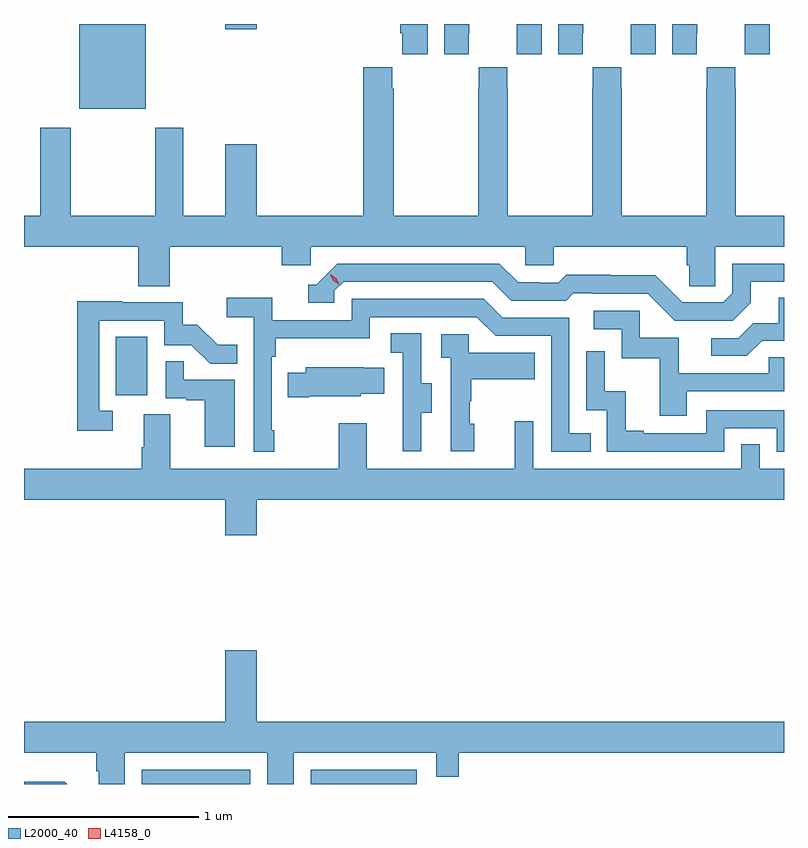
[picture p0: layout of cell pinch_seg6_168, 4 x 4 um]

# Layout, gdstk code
import gdstk
lib = gdstk.Library(unit=1e-6, precision=1e-09)
def R(c, l, rs):  # rectangles x0, y0, x1, y1
    for r in rs: c.add(gdstk.rectangle(r[:2], r[2:], *l))
def P(c, l, *ps):  # polygons
    for p in ps: c.add(gdstk.Polygon(p, *l))
L2000_40 = (2000, 40)
L4158_0 = (4158, 0)

pinch_seg6_168 = lib.new_cell('pinch_seg6_168')
R(pinch_seg6_168, L2000_40, [(1027.704,940.512,1028.274,940.587), (1028.592,940.512,1029.15,940.587), (1027.568,942.558,1027.732,942.865), (1027.376,944.066,1027.726,944.512), (1028.144,944.484,1028.308,944.512)])
P(pinch_seg6_168, L2000_40, [(1029.208,944.512),(1029.065,944.512),(1029.065,944.464),(1029.074,944.464),(1029.074,944.352),(1029.208,944.352)],
  [(1029.426,944.464),(1029.427,944.464),(1029.427,944.512),(1029.296,944.512),(1029.296,944.352),(1029.426,944.352)],
  [(1029.808,944.512),(1029.677,944.512),(1029.677,944.464),(1029.678,944.464),(1029.678,944.352),(1029.808,944.352)],
  [(1030.026,944.464),(1030.027,944.464),(1030.027,944.512),(1029.896,944.512),(1029.896,944.352),(1030.026,944.352)],
  [(1030.408,944.512),(1030.277,944.512),(1030.277,944.464),(1030.278,944.464),(1030.278,944.352),(1030.408,944.352)],
  [(1030.626,944.464),(1030.627,944.464),(1030.627,944.512),(1030.496,944.512),(1030.496,944.352),(1030.626,944.352)],
  [(1031.008,944.512),(1030.877,944.512),(1030.877,944.464),(1030.878,944.464),(1030.878,944.352),(1031.008,944.352)],
  [(1027.85,943.34),(1028.441,943.34),(1028.441,943.242),(1028.592,943.242),(1028.592,943.34),(1029.723,943.34),(1029.723,943.242),(1029.873,943.242),(1029.873,943.34),(1030.571,943.34),(1030.571,943.242),(1030.585,943.242),(1030.585,943.132),(1030.722,943.132),(1030.722,943.34),(1031.084,943.34),(1031.084,943.504),(1030.83,943.504),(1030.83,944.171),(1030.827,944.171),(1030.827,944.284),(1030.677,944.284),(1030.677,944.171),(1030.675,944.171),(1030.675,943.504),(1030.23,943.504),(1030.23,944.171),(1030.227,944.171),(1030.227,944.284),(1030.077,944.284),(1030.077,944.171),(1030.075,944.171),(1030.075,943.504),(1029.63,943.504),(1029.63,944.171),(1029.627,944.171),(1029.627,944.284),(1029.477,944.284),(1029.477,944.171),(1029.475,944.171),(1029.475,943.504),(1029.03,943.504),(1029.03,944.171),(1029.023,944.171),(1029.023,944.284),(1028.87,944.284),(1028.87,943.504),(1028.308,943.504),(1028.308,943.879),(1028.144,943.879),(1028.144,943.504),(1027.921,943.504),(1027.921,943.966),(1027.774,943.966),(1027.774,943.504),(1027.329,943.504),(1027.329,943.966),(1027.169,943.966),(1027.169,943.504),(1027.084,943.504),(1027.084,943.34),(1027.685,943.34),(1027.685,943.132),(1027.85,943.132)],
  [(1030.909,943.045),(1030.909,943.155),(1031.084,943.155),(1031.084,943.251),(1030.812,943.251),(1030.812,943.095),(1030.764,943.047),(1030.548,943.047),(1030.406,943.189),(1030.17,943.189),(1030.17,943.192),(1029.937,943.192),(1029.895,943.149),(1029.792,943.149),(1029.792,943.152),(1029.685,943.152),(1029.586,943.251),(1028.733,943.251),(1028.622,943.14),(1028.579,943.14),(1028.579,943.044),(1028.718,943.044),(1028.718,943.107),(1028.766,943.155),(1029.549,943.155),(1029.648,943.056),(1029.937,943.056),(1029.976,943.095),(1030.075,943.095),(1030.075,943.092),(1030.368,943.092),(1030.509,942.951),(1030.815,942.951)],
  [(1028.401,942.373),(1028.388,942.373),(1028.388,942.761),(1028.408,942.761),(1028.408,942.857),(1028.904,942.857),(1028.904,942.969),(1029.468,942.969),(1029.567,942.87),(1029.858,942.87),(1029.858,942.261),(1030.067,942.261),(1030.067,942.357),(1029.954,942.357),(1029.954,942.966),(1029.604,942.966),(1029.505,943.065),(1028.808,943.065),(1028.808,942.954),(1028.39,942.954),(1028.39,943.07),(1028.151,943.07),(1028.151,942.968),(1028.292,942.968),(1028.292,942.261),(1028.401,942.261)],
  [(1030.969,942.846),(1031.084,942.846),(1031.084,943.07),(1031.057,943.07),(1031.057,942.938),(1030.922,942.938),(1030.842,942.858),(1030.701,942.858),(1030.701,942.765),(1030.888,942.765)],
  [(1027.552,942.477),(1027.479,942.477),(1027.479,942.951),(1027.821,942.951),(1027.821,942.822),(1027.965,942.822),(1028.063,942.724),(1028.207,942.724),(1028.207,942.823),(1028.103,942.823),(1027.996,942.93),(1027.92,942.93),(1027.92,943.047),(1027.601,943.047),(1027.601,943.052),(1027.363,943.052),(1027.363,942.372),(1027.552,942.372)],
  [(1030.573,942.579),(1031.084,942.579),(1031.084,942.759),(1031.005,942.759),(1031.005,942.675),(1030.531,942.675),(1030.531,942.861),(1030.326,942.861),(1030.326,943.002),(1030.083,943.002),(1030.083,942.906),(1030.23,942.906),(1030.23,942.753),(1030.429,942.753),(1030.429,942.45),(1030.573,942.45)],
  [(1029.175,942.466),(1029.229,942.466),(1029.229,942.621),(1029.174,942.621),(1029.174,942.884),(1029.015,942.884),(1029.015,942.781),(1029.078,942.781),(1029.078,942.477),(1029.077,942.477),(1029.077,942.264),(1029.175,942.264)],
  [(1029.454,942.408),(1029.429,942.408),(1029.429,942.527),(1029.439,942.527),(1029.439,942.641),(1029.773,942.641),(1029.773,942.781),(1029.426,942.781),(1029.426,942.879),(1029.279,942.879),(1029.279,942.755),(1029.33,942.755),(1029.33,942.264),(1029.454,942.264)],
  [(1030.77,942.384),(1031.046,942.384),(1031.046,942.261),(1031.084,942.261),(1031.084,942.48),(1030.674,942.48),(1030.674,942.357),(1030.345,942.357),(1030.345,942.37),(1030.25,942.37),(1030.25,942.578),(1030.14,942.578),(1030.14,942.79),(1030.044,942.79),(1030.044,942.48),(1030.152,942.48),(1030.152,942.261),(1030.77,942.261)],
  [(1028.194,942.639),(1027.925,942.639),(1027.925,942.737),(1027.83,942.737),(1027.83,942.543),(1027.937,942.543),(1027.937,942.531),(1028.036,942.531),(1028.036,942.288),(1028.194,942.288)],
  [(1028.584,942.554),(1028.856,942.554),(1028.856,942.566),(1028.981,942.566),(1028.981,942.703),(1028.873,942.703),(1028.873,942.706),(1028.567,942.706),(1028.567,942.676),(1028.473,942.676),(1028.473,942.547),(1028.584,942.547)],
  [(1031.084,942.172),(1030.956,942.172),(1030.956,942.299),(1030.86,942.299),(1030.86,942.172),(1029.765,942.172),(1029.765,942.421),(1029.668,942.421),(1029.668,942.172),(1028.887,942.172),(1028.887,942.412),(1028.74,942.412),(1028.74,942.172),(1027.855,942.172),(1027.855,942.458),(1027.715,942.458),(1027.715,942.284),(1027.703,942.284),(1027.703,942.172),(1027.084,942.172),(1027.084,942.008),(1028.144,942.008),(1028.144,941.82),(1028.308,941.82),(1028.308,942.008),(1031.084,942.008)],
  [(1027.614,940.676),(1028.364,940.676),(1028.364,940.512),(1028.503,940.512),(1028.503,940.676),(1029.255,940.676),(1029.255,940.549),(1029.371,940.549),(1029.371,940.676),(1031.084,940.676),(1031.084,940.84),(1028.308,940.84),(1028.308,941.215),(1028.144,941.215),(1028.144,940.84),(1027.084,940.84),(1027.084,940.676),(1027.463,940.676),(1027.463,940.578),(1027.477,940.578),(1027.477,940.512),(1027.614,940.512)],
  [(1027.298,940.525),(1027.084,940.525),(1027.084,940.512),(1027.311,940.512)])
P(pinch_seg6_168, L4158_0, [(1028.742,943.141),(1028.712,943.161),(1028.696,943.194),(1028.696,943.195),(1028.697,943.195),(1028.727,943.174),(1028.742,943.142),(1028.742,943.141)])

lib.write_gds('pinch_seg6_168.gds')
